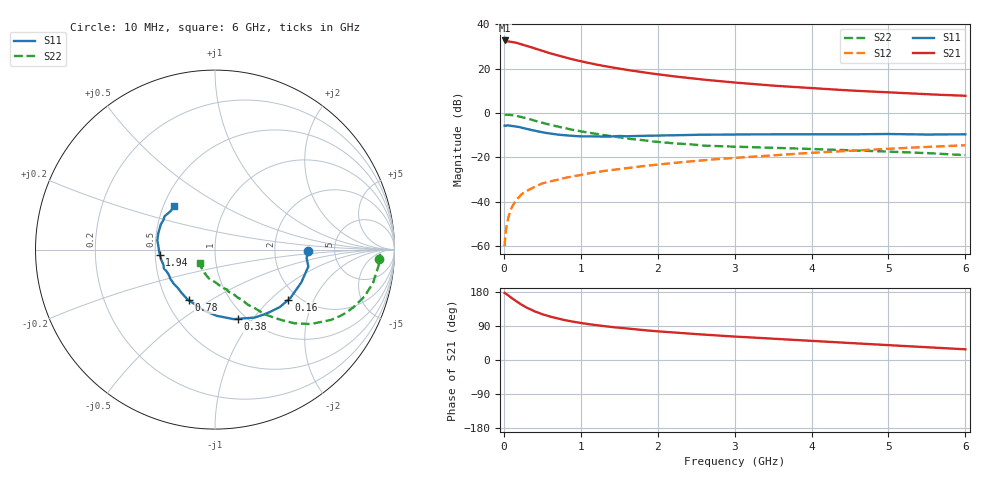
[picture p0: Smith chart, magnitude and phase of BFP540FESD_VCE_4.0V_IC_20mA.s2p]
! Infineon Technologies  Discrete & RF Semiconductors
! BFP540FESD
! VCE =  4.0 V,  IC =  20 mA
! Common Emitter S-Parameters:  Nov 2015
# GHz  S  MA  R  50
!  f  S11  S21  S12  S22
! GHz  MAG  ANG  MAG  ANG  MAG  ANG  MAG  ANG
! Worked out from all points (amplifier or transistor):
!   210 points, 10 MHz to 6 GHz, reference 50 ohm
!   highest |S21| = 32.7 dB at 10 MHz (marker M1)
!   |S21| within 3 dB of that: start of sweep to 350.2 MHz
!   unconditionally stable (mu >= 1): start of sweep to 22.63 MHz; 1.786 GHz to end of sweep
!   at 185 MHz: K = 0.38, MSG = 34.9 dB, |S12| = -38.3 dB
!   at 1.52 GHz: K = 0.96, MSG = 22.5 dB, |S12| = -25.2 dB
!   at 6 GHz: K = 1.17, MAG = 8.6 dB, |S12| = -14.5 dB
!   S11 on the Smith chart (normalised r, x): 10 MHz: 3.16, -0.05; 160 MHz: 1.77, -1.31; 380 MHz: 0.92, -0.85; 780 MHz: 0.65, -0.41; 1.94 GHz: 0.53, -0.03; 6 GHz: 0.57, +0.31
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0.01  0.519 -0.6  43.1 177.0  0.001 53.8  0.9147 -3.3
0.02  0.5127 -5.2  41.2 176.0  0.0018 50.2  0.9205 -1.8
0.05  0.5286 -10.3  41.25 171.5  0.0038 69.9  0.9157 -5.6
0.1  0.5145 -20.8  40.01 163.7  0.0073 71.5  0.8999 -11.9
0.16  0.495 -34.3  38.24 155.2  0.0107 71.2  0.8643 -18.5
0.2  0.4828 -41.5  36.64 149.5  0.0129 69.5  0.835 -22.7
0.26  0.454 -52.4  34.2 142.5  0.0162 68.0  0.7878 -28.1
0.3  0.4385 -59.7  32.63 137.9  0.0176 67.8  0.7546 -31.3
0.38  0.4066 -71.6  29.36 130.5  0.021 64.6  0.6905 -36.5
0.5  0.3694 -88.3  25.22 120.7  0.0259 62.5  0.6014 -43.0
0.6  0.3459 -99.7  22.19 114.5  0.0287 63.1  0.5423 -46.5
0.78  0.3175 -117.3  18.17 105.9  0.034 61.5  0.4598 -52.0
0.9  0.3053 -127.2  16.07 101.1  0.0372 61.3  0.4158 -54.5
1.02  0.2974 -135.1  14.4 97.1  0.0408 61.2  0.3815 -56.8
1.4  0.296 -155.9  10.69 87.1  0.0518 60.8  0.2993 -64.3
1.94  0.3089 -174.6  7.687 76.7  0.0671 59.8  0.2287 -74.4
2.02  0.3112 -177.3  7.37 75.3  0.0693 59.5  0.2228 -76.5
2.6  0.3255 171.0  5.65 67.0  0.0861 57.0  0.1837 -88.5
3.1  0.3287 163.4  4.715 60.8  0.1003 54.7  0.1727 -95.6
4.1  0.3324 154.2  3.54 49.4  0.1295 49.5  0.1526 -108.1
5.1  0.3345 145.1  2.86 38.1  0.1598 42.3  0.1328 -120.0
6  0.3306 133.3  2.443 28.2  0.1876 35.4  0.1125 -136.9
